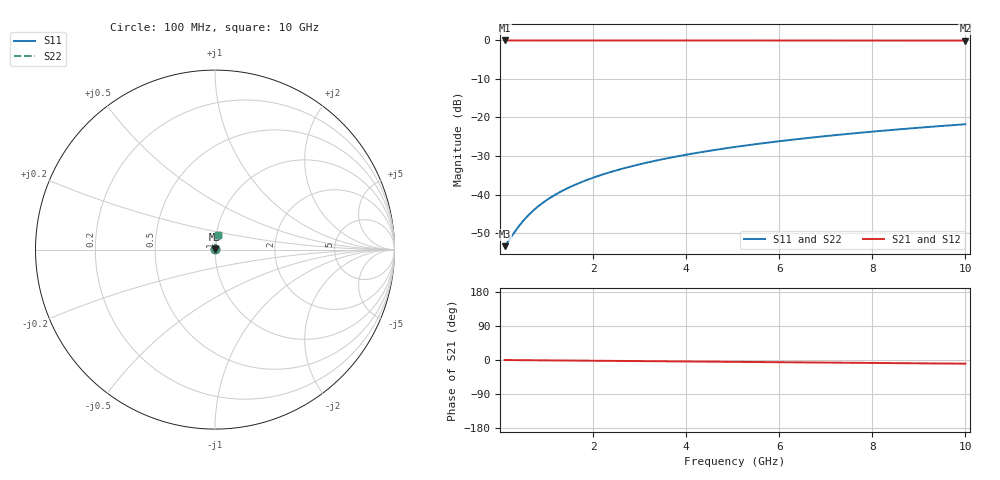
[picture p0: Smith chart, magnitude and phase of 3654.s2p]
# Hz S RI R 50.00
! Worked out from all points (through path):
!   100 points, 100 MHz to 10 GHz, reference 50 ohm
!   highest |S21| = -0.02 dB at 100 MHz (marker M1); lowest = 0.0 dB at 10 GHz (marker M2)
!   group delay of S21, straight-line fit = 2.69 ps
!   lowest |S11| = -53.4 dB at 100 MHz (marker M3), VSWR 1.00, Z = 50.2 + j0.0821 ohm
!   |S11| at or under -10 dB: start of sweep to end of sweep
!   |S22| runs from -53.4 to -21.8 dB; largest |S21 - S12| = 0
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1e8  0.00198 0.000817  0.998 -0.00169  0.998 -0.00169  0.00198 0.000817
2e8  0.002 0.00163  0.998 -0.00337  0.998 -0.00337  0.002 0.00163
3e8  0.00201 0.00245  0.998 -0.00506  0.998 -0.00506  0.00201 0.00245
4e8  0.00203 0.00327  0.998 -0.00675  0.998 -0.00675  0.00203 0.00327
5e8  0.00205 0.00409  0.9979 -0.00844  0.9979 -0.00844  0.00205 0.00409
6e8  0.00207 0.0049  0.9979 -0.0101  0.9979 -0.0101  0.00207 0.0049
7e8  0.00209 0.00572  0.9979 -0.0118  0.9979 -0.0118  0.00209 0.00572
8e8  0.00212 0.00654  0.9978 -0.0135  0.9978 -0.0135  0.00212 0.00654
1e9  0.00218 0.00817  0.9978 -0.0169  0.9978 -0.0169  0.00218 0.00817
1.2e9  0.00224 0.0098  0.9977 -0.0202  0.9977 -0.0202  0.00224 0.0098
1.5e9  0.00237 0.0123  0.9975 -0.0253  0.9975 -0.0253  0.00237 0.0123
1.8e9  0.00251 0.0147  0.9974 -0.0304  0.9974 -0.0304  0.00251 0.0147
2.1e9  0.00268 0.0171  0.9971 -0.0354  0.9971 -0.0354  0.00268 0.0171
2.5e9  0.00294 0.0204  0.9968 -0.0422  0.9968 -0.0422  0.00294 0.0204
2.9e9  0.00325 0.0237  0.9964 -0.0489  0.9964 -0.0489  0.00325 0.0237
3.4e9  0.00369 0.0277  0.9958 -0.0573  0.9958 -0.0573  0.00369 0.0277
4.2e9  0.00455 0.0342  0.9947 -0.0708  0.9947 -0.0708  0.00455 0.0342
5.1e9  0.00572 0.0415  0.9933 -0.0859  0.9933 -0.0859  0.00572 0.0415
5.9e9  0.00694 0.0479  0.9917 -0.0993  0.9917 -0.0993  0.00694 0.0479
6.7e9  0.00834 0.0543  0.9899 -0.1127  0.9899 -0.1127  0.00834 0.0543
8.4e9  0.0119 0.0677  0.9854 -0.1411  0.9854 -0.1411  0.0119 0.0677
1e10  0.0159 0.0802  0.9802 -0.1676  0.9802 -0.1676  0.0159 0.0802
